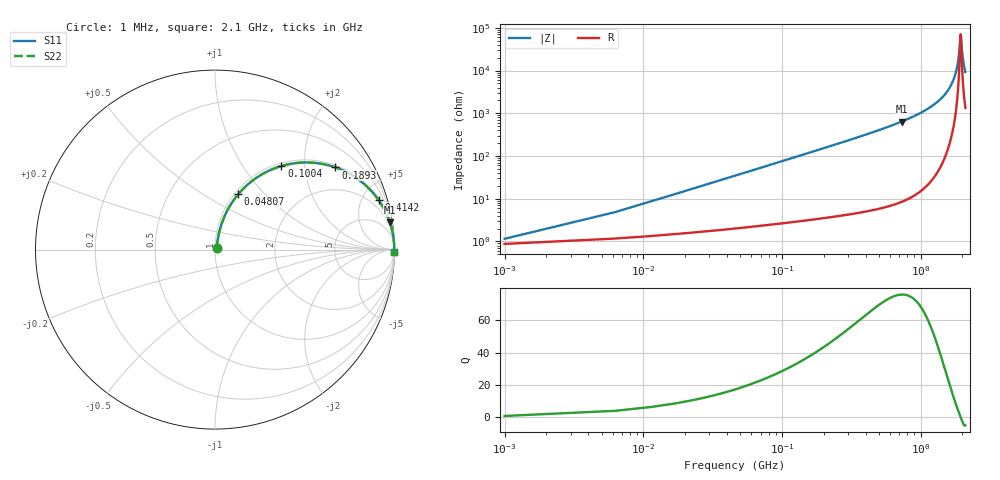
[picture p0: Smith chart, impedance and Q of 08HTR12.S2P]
! Coilcraft 0805HT-R12 Chip Inductor
! 24 June 2002
# MHZ S MA R 50
!Freq  MagS11  AngS11  MagS21  AngS21  MagS12  AngS12  MagS22  AngS22
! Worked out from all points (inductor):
!   403 points, 1 MHz to 2.1 GHz, reference 50 ohm
!   read as one part in series: L = 120 nH near 11.46 MHz
!   highest Q = 75.8 at 728 MHz (marker M1), where L = 140 nH
!   self-resonance near 1.941 GHz
!   S11 on the Smith chart (normalised r, x): 1 MHz: 1.02, +0.02; 48.07 MHz: 1.04, +0.73; 100.4 MHz: 1.05, +1.52; 189.3 MHz: 1.07, +2.88; 414.2 MHz: 1.10, +6.54; 2.1 GHz: open
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1  0.01146 40.3  0.9913 -0.4  0.9913 -0.4  0.01146 40.3
16.69  0.1239 76.2  0.9779 -7.1  0.9779 -7.1  0.1239 76.2
21.92  0.1613 75.2  0.9715 -9.2  0.9715 -9.2  0.1613 75.2
32.38  0.2339 72.3  0.9553 -13.5  0.9553 -13.5  0.2339 72.3
48.07  0.3354 67.2  0.9234 -19.6  0.9234 -19.6  0.3354 67.2
100.37  0.5948 51.5  0.7834 -36.5  0.7834 -36.5  0.5948 51.5
189.28  0.8126 34.3  0.5638 -54.3  0.5638 -54.3  0.8126 34.3
351.41  0.9343 19.9  0.341 -69.1  0.341 -69.1  0.9343 19.9
414.17  0.9522 16.9  0.291 -72.2  0.291 -72.2  0.9522 16.9
701.82  0.9847 9.3  0.1618 -79.9  0.1618 -79.9  0.9847 9.3
727.97  0.986 8.9  0.1544 -80.4  0.1544 -80.4  0.986 8.9
1052.23  0.9947 5.1  0.08855 -84.0  0.08855 -84.0  0.9947 5.1
1402.64  0.9978 2.6  0.04512 -85.9  0.04512 -85.9  0.9978 2.6
1606.61  0.9984 1.5  0.02602 -85.8  0.02602 -85.8  0.9984 1.5
1753.05  0.9986 0.8  0.01402 -83.9  0.01402 -83.9  0.9986 0.8
1857.65  0.9986 0.3  0.006189 -76.9  0.006189 -76.9  0.9986 0.3
1889.03  0.9986 0.2  0.003999 -69.4  0.003999 -69.4  0.9986 0.2
1941.33  0.9986 0.0  0.001427 -1.0  0.001427 -1.0  0.9986 0.0
1951.79  0.9986 -0.0  0.0016 26.2  0.0016 26.2  0.9986 -0.0
1988.4  0.9985 -0.2  0.003558 65.5  0.003558 65.5  0.9985 -0.2
2014.55  0.9985 -0.3  0.00524 73.3  0.00524 73.3  0.9985 -0.3
2100  0.9984 -0.6  0.01081 81.1  0.01081 81.1  0.9984 -0.6
